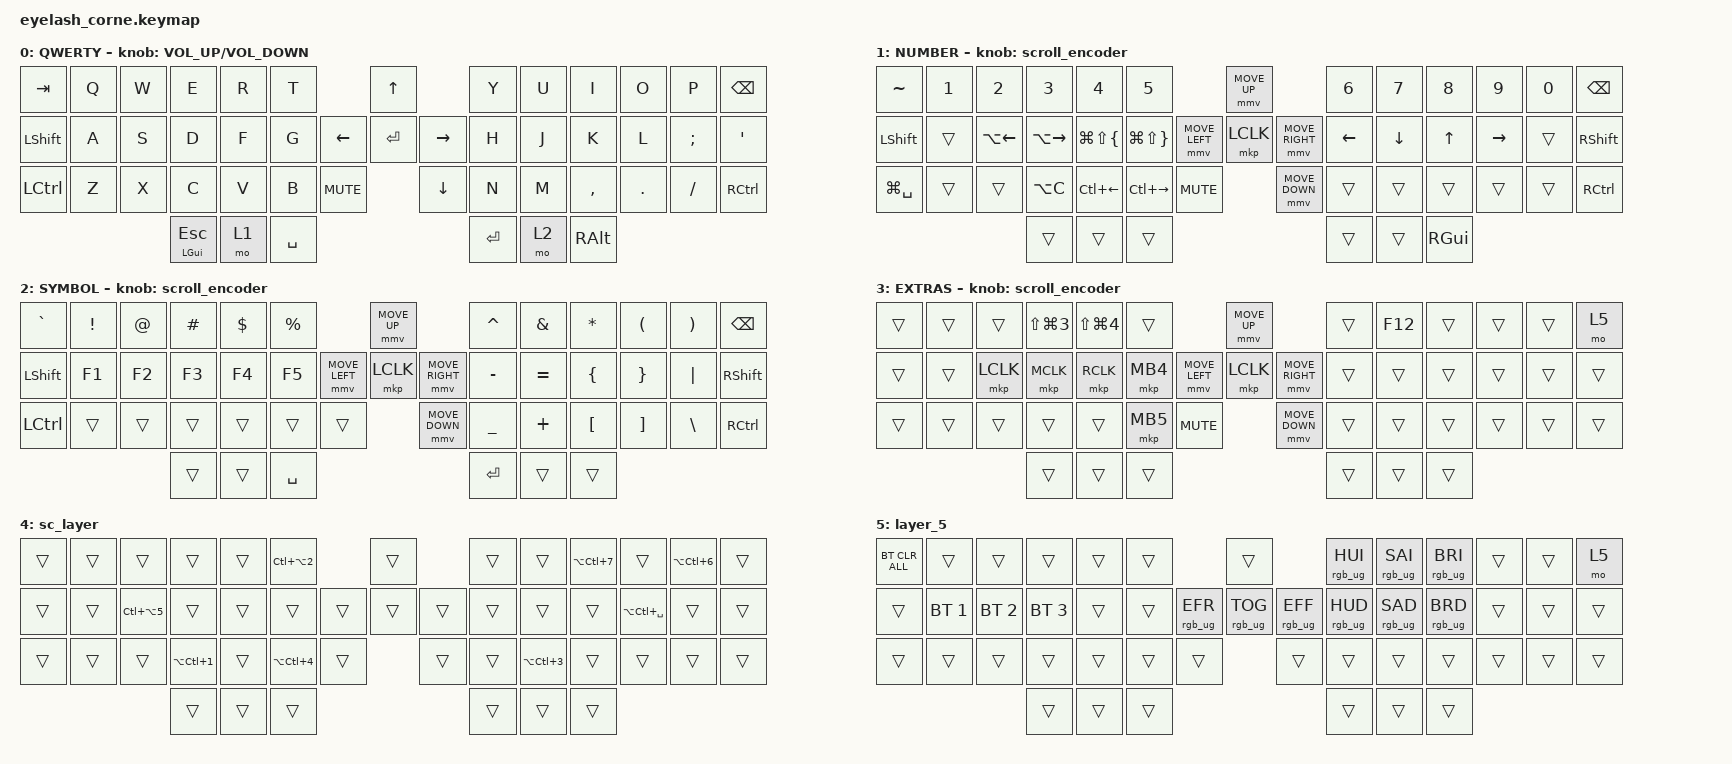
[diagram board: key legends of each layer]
#define ZMK_POINTING_DEFAULT_MOVE_VAL 1200  // 600
#define ZMK_POINTING_DEFAULT_SCRL_VAL 25   // 10

#include <input/processors.dtsi>
#include <zephyr/dt-bindings/input/input-event-codes.h>
#include <behaviors.dtsi>
#include <dt-bindings/zmk/bt.h>
#include <dt-bindings/zmk/keys.h>
#include <dt-bindings/zmk/pointing.h>
#include <dt-bindings/zmk/rgb.h>

&mmv_input_listener { input-processors = <&zip_xy_scaler 2 1>; };

&msc_input_listener { input-processors = <&zip_scroll_scaler 2 1>; };

&msc {
    acceleration-exponent = <1>;      // 0
    time-to-max-speed-ms = <100>;       // 300
    delay-ms = <0>;                   // 0
};

&mmv {
    time-to-max-speed-ms = <500>;
    acceleration-exponent = <1>;
    trigger-period-ms = <16>;
};

&soft_off { hold-time-ms = <2000>; };

/ {
    behaviors {
        td0: td0 {
            compatible = "zmk,behavior-tap-dance";
            display-name = "Shift/Caps Lock Tap Dance";
            #binding-cells = <0>;
            bindings = <&kp LEFT_SHIFT>, <&kp CAPS>;
        };
    };

    rgb_encoder: rgb_encoder {
        compatible = "zmk,behavior-sensor-rotate";
        #sensor-binding-cells = <0>;
        bindings = <&rgb_ug RGB_BRI>, <&rgb_ug RGB_BRD>;
    };

    scroll_encoder: scroll_encoder {
        compatible = "zmk,behavior-sensor-rotate";
        #sensor-binding-cells = <0>;
        bindings = <&msc SCRL_DOWN>, <&msc SCRL_UP>;

        tap-ms = <100>;
    };

    combos {
        compatible = "zmk,combos";

        sc_layer {
            bindings = <&sl 4>;
            key-positions = <17 16>;
        };
    };

    keymap {
        compatible = "zmk,keymap";

        default_layer {
            display-name = "QWERTY";
            bindings = <
&kp TAB    &kp Q  &kp W  &kp E         &kp R  &kp T                              &kp UP                &kp Y      &kp U  &kp I      &kp O    &kp P     &kp BSPC
&kp LSHFT  &kp A  &kp S  &kp D         &kp F  &kp G                    &kp LEFT  &kp ENTER  &kp RIGHT  &kp H      &kp J  &kp K      &kp L    &kp SEMI  &kp SQT
&kp LCTRL  &kp Z  &kp X  &kp C         &kp V  &kp B      &kp C_MUTE              &kp DOWN              &kp N      &kp M  &kp COMMA  &kp DOT  &kp FSLH  &kp RCTRL
                         &mt LGUI ESC  &mo 1  &kp SPACE                                                &kp ENTER  &mo 2  &kp RALT
            >;

            sensor-bindings = <&inc_dec_kp C_VOLUME_UP C_VOLUME_DOWN>;
        };

        lower_layer {
            display-name = "NUMBER";
            bindings = <
&kp TILDE       &kp N1  &kp N2              &kp N3               &kp N4                  &kp N5                                                 &mmv MOVE_UP                     &kp N6    &kp N7    &kp N8         &kp N9     &kp N0  &kp BSPC
&kp LEFT_SHIFT  &trans  &kp LA(LEFT_ARROW)  &kp LA(RIGHT_ARROW)  &kp LG(LS(LEFT_BRACE))  &kp LG(LS(RIGHT_BRACE))                &mmv MOVE_LEFT  &mkp LCLK       &mmv MOVE_RIGHT  &kp LEFT  &kp DOWN  &kp UP         &kp RIGHT  &trans  &kp RIGHT_SHIFT
&kp LG(SPACE)   &trans  &trans              &kp LA(C)            &kp LC(LEFT_ARROW)      &kp LC(RIGHT_ARROW)      &kp C_MUTE                    &mmv MOVE_DOWN                   &trans    &trans    &trans         &trans     &trans  &kp RCTRL
                                            &trans               &trans                  &trans                                                                                  &trans    &trans    &kp RIGHT_GUI
            >;

            sensor-bindings = <&scroll_encoder>;
        };

        raise_layer {
            display-name = "SYMBOL";
            bindings = <
&kp GRAVE       &kp EXCL  &kp AT  &kp HASH  &kp DLLR  &kp PRCNT                            &mmv MOVE_UP                     &kp CARET  &kp AMPS   &kp ASTRK         &kp LPAR           &kp RPAR       &kp BSPC
&kp LEFT_SHIFT  &kp F1    &kp F2  &kp F3    &kp F4    &kp F5               &mmv MOVE_LEFT  &mkp LCLK       &mmv MOVE_RIGHT  &kp MINUS  &kp EQUAL  &kp LEFT_BRACE    &kp RIGHT_BRACE    &kp PIPE       &kp RIGHT_SHIFT
&kp LCTRL       &trans    &trans  &trans    &trans    &trans     &trans                    &mmv MOVE_DOWN                   &kp UNDER  &kp PLUS   &kp LEFT_BRACKET  &kp RIGHT_BRACKET  &kp BACKSLASH  &kp RCTRL
                                  &trans    &trans    &kp SPACE                                                             &kp RET    &trans     &trans
            >;

            sensor-bindings = <&scroll_encoder>;
        };

        ext_layer {
            display-name = "EXTRAS";
            bindings = <
&trans  &trans  &trans     &kp LS(LG(NUMBER_3))  &kp LS(LG(NUMBER_4))  &trans                                  &mmv MOVE_UP                     &trans  &kp F12  &trans  &trans  &trans  &mo 5
&trans  &trans  &mkp LCLK  &mkp MCLK             &mkp RCLK             &mkp MB4                &mmv MOVE_LEFT  &mkp LCLK       &mmv MOVE_RIGHT  &trans  &trans   &trans  &trans  &trans  &trans
&trans  &trans  &trans     &trans                &trans                &mkp MB5  &kp C_MUTE                    &mmv MOVE_DOWN                   &trans  &trans   &trans  &trans  &trans  &trans
                           &trans                &trans                &trans                                                                   &trans  &trans   &trans
            >;

            sensor-bindings = <&scroll_encoder>;
        };

        sc_layer {
            bindings = <
&trans  &trans  &trans          &trans                &trans  &kp LC(LA(NUMBER_2))                    &trans          &trans  &trans                &kp LA(LC(NUMBER_7))  &trans             &kp LA(LC(NUMBER_6))  &trans
&trans  &trans  &kp LC(LA(N5))  &trans                &trans  &trans                          &trans  &trans  &trans  &trans  &trans                &trans                &kp LA(LC(SPACE))  &trans                &trans
&trans  &trans  &trans          &kp LA(LC(NUMBER_1))  &trans  &kp LA(LC(NUMBER_4))  &trans            &trans          &trans  &kp LA(LC(NUMBER_3))  &trans                &trans             &trans                &trans
                                &trans                &trans  &trans                                                  &trans  &trans                &trans
            >;
        };

        layer_5 {
            bindings = <
&bt BT_CLR_ALL  &trans        &trans        &trans        &trans  &trans                             &trans                            &rgb_ug RGB_HUI  &rgb_ug RGB_SAI  &rgb_ug RGB_BRI  &trans  &trans  &mo 5
&trans          &bt BT_SEL 1  &bt BT_SEL 2  &bt BT_SEL 3  &trans  &trans            &rgb_ug RGB_EFR  &rgb_ug RGB_TOG  &rgb_ug RGB_EFF  &rgb_ug RGB_HUD  &rgb_ug RGB_SAD  &rgb_ug RGB_BRD  &trans  &trans  &trans
&trans          &trans        &trans        &trans        &trans  &trans  &trans                     &trans                            &trans           &trans           &trans           &trans  &trans  &trans
                                            &trans        &trans  &trans                                                               &trans           &trans           &trans
            >;
        };
    };

    conditional_layers {
        compatible = "zmk,conditional-layers";

        ext_layer {
            if-layers = <1 2>;
            then-layer = <3>;
        };
    };
};
